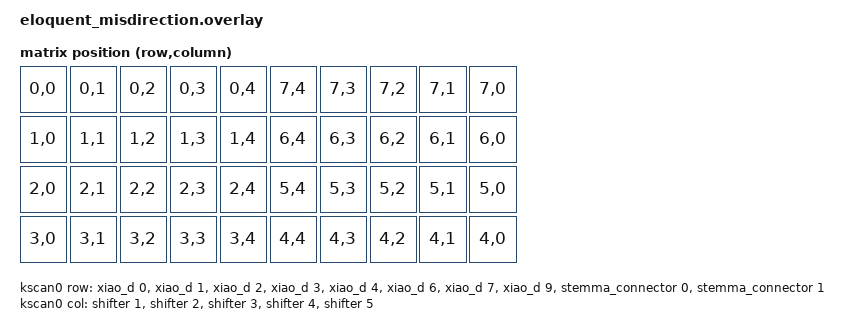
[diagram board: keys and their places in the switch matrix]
#include <dt-bindings/zmk/matrix_transform.h>

&xiao_serial {
    status = "disabled";
};

&xiao_spi {
  status = "okay";
  cs-gpios = <&xiao_d 5 GPIO_ACTIVE_LOW>;
  shifter: 595@0 {
    compatible = "zmk,gpio-595";
    status = "okay";
    gpio-controller;
    spi-max-frequency = <200000>;
    reg = <0>;
    #gpio-cells = <2>;
    ngpios = <8>;
  };
};

&zephyr_i2c {
    status = "okay";
// 	stemma_connector: stemma_connector {
//     status = "okay";
// 		compatible = "zmk,stemma-qt-connector";
//     gpio-controller;
// 		#gpio-cells = <2>;
// 		gpio-map-mask = < 0xffffffff 0xffffffc0 >;
// 		gpio-map-pass-thru = < 0x0 0x3f >;
// 		gpio-map = < 0x0 0x0 &gpio0 0x15 0x0 >, < 0x1 0x0 &gpio0 0x14 0x0 >;
// 	};
};

/ {
  chosen {
    zmk,physical-layout = &physical_layout0;
  };

	// stemma_connector: stemma_connector {
	// 	compatible = "stemma-qt-connector";
	// 	#gpio-cells = < 0x2 >;
	// 	gpio-map-mask = < 0xffffffff 0xffffffc0 >;
	// 	gpio-map-pass-thru = < 0x0 0x3f >;
	// 	gpio-map = < 0x0 0x0 &gpio0 0x15 0x0 >, < 0x1 0x0 &gpio0 0x14 0x0 >;
	// };

  kscan0: kscan {
    compatible = "zmk,kscan-gpio-matrix";
    label = "KSCAN";
    diode-direction = "col2row";
    
    row-gpios = <&xiao_d 0 (GPIO_ACTIVE_HIGH | GPIO_PULL_DOWN)>,
                <&xiao_d 1 (GPIO_ACTIVE_HIGH | GPIO_PULL_DOWN)>,
                <&xiao_d 2 (GPIO_ACTIVE_HIGH | GPIO_PULL_DOWN)>,
                <&xiao_d 3 (GPIO_ACTIVE_HIGH | GPIO_PULL_DOWN)>,
                <&xiao_d 4 (GPIO_ACTIVE_HIGH | GPIO_PULL_DOWN)>,
                <&xiao_d 6 (GPIO_ACTIVE_HIGH | GPIO_PULL_DOWN)>,
                <&xiao_d 7 (GPIO_ACTIVE_HIGH | GPIO_PULL_DOWN)>,
                <&xiao_d 9 (GPIO_ACTIVE_HIGH | GPIO_PULL_DOWN)>,
                <&stemma_connector 0 (GPIO_ACTIVE_HIGH | GPIO_PULL_DOWN)>,
                <&stemma_connector 1 (GPIO_ACTIVE_HIGH | GPIO_PULL_DOWN)>;
    
    col-gpios = <&shifter 1 GPIO_ACTIVE_HIGH>,
                <&shifter 2 GPIO_ACTIVE_HIGH>,
                <&shifter 3 GPIO_ACTIVE_HIGH>,
                <&shifter 4 GPIO_ACTIVE_HIGH>,
                <&shifter 5 GPIO_ACTIVE_HIGH>;
  };
  
  default_transform: keymap_transform0 {
    compatible = "zmk,matrix-transform";
    rows = <10>;
    columns = <5>;
    
    map = <
      RC(0,0) RC(0,1) RC(0,2) RC(0,3) RC(0,4) RC(7,4) RC(7,3) RC(7,2) RC(7,1) RC(7,0)
      RC(1,0) RC(1,1) RC(1,2) RC(1,3) RC(1,4) RC(6,4) RC(6,3) RC(6,2) RC(6,1) RC(6,0)
      RC(2,0) RC(2,1) RC(2,2) RC(2,3) RC(2,4) RC(5,4) RC(5,3) RC(5,2) RC(5,1) RC(5,0)
      RC(3,0) RC(3,1) RC(3,2) RC(3,3) RC(3,4) RC(4,4) RC(4,3) RC(4,2) RC(4,1) RC(4,0)
    >;
  };

  physical_layout0: physical_layout_0 {
    compatible = "zmk,physical-layout";
    display-name = "Default Layout";
    kscan = <&kscan0>;
    transform = <&default_transform>;
  };
};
